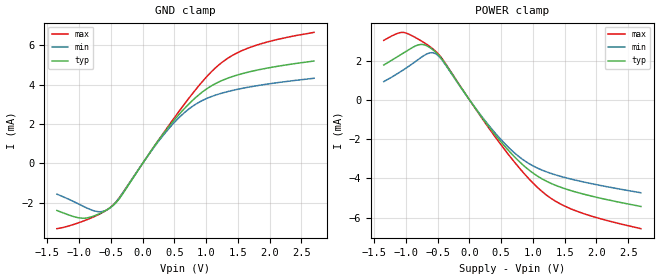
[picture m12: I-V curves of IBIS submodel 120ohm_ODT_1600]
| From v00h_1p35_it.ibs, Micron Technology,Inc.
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| SUBMODEL 120ohm_ODT_1600
[Submodel]   120ohm_ODT_1600
Submodel_type  Dynamic_clamp
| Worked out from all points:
|   POWER clamp passes 1 mA (typ) near -0.21 V on its own axis
[GND Clamp]
|   Voltage   I(typ)   I(min)   I(max)
-1.35V    -2.389mA   -1.559mA   -3.312mA
-935mV    -2.782mA   -2.175mA   -2.928mA
-695mV    -2.573mA   -2.451mA   -2.6mA
-550mV    -2.331mA   -2.338mA   -2.331mA
-360mV    -1.761mA   -1.72mA    -1.711mA
225mV     1.059mA    1.011mA    1.062mA
570mV     2.47mA     2.31mA     2.626mA
920mV     3.57mA     3.157mA    4.072mA
1.255V    4.214mA    3.571mA    5.139mA
1.495V    4.488mA    3.76mA     5.618mA
1.79V     4.726mA    3.938mA    5.997mA
2.7V      5.197mA    4.321mA    6.649mA
[POWER Clamp]
|   Voltage   I(typ)   I(min)   I(max)
-1.35V    1.777mA    932.5uA    3.035mA
-1.015V   2.439mA    1.586mA    3.423mA
-755mV    2.827mA    2.178mA    2.999mA
-540mV    2.456mA    2.363mA    2.499mA
-430mV    2.061mA    2.022mA    2.098mA
150mV     -687.6uA   -661.5uA   -715.6uA
465mV     -2.018mA   -1.912mA   -2.15mA
795mV     -3.176mA   -2.932mA   -3.507mA
1.11V     -3.964mA   -3.534mA   -4.577mA
1.34V     -4.333mA   -3.807mA   -5.136mA
1.645V    -4.67mA    -4.073mA   -5.618mA
2.7V      -5.433mA   -4.736mA   -6.565mA
